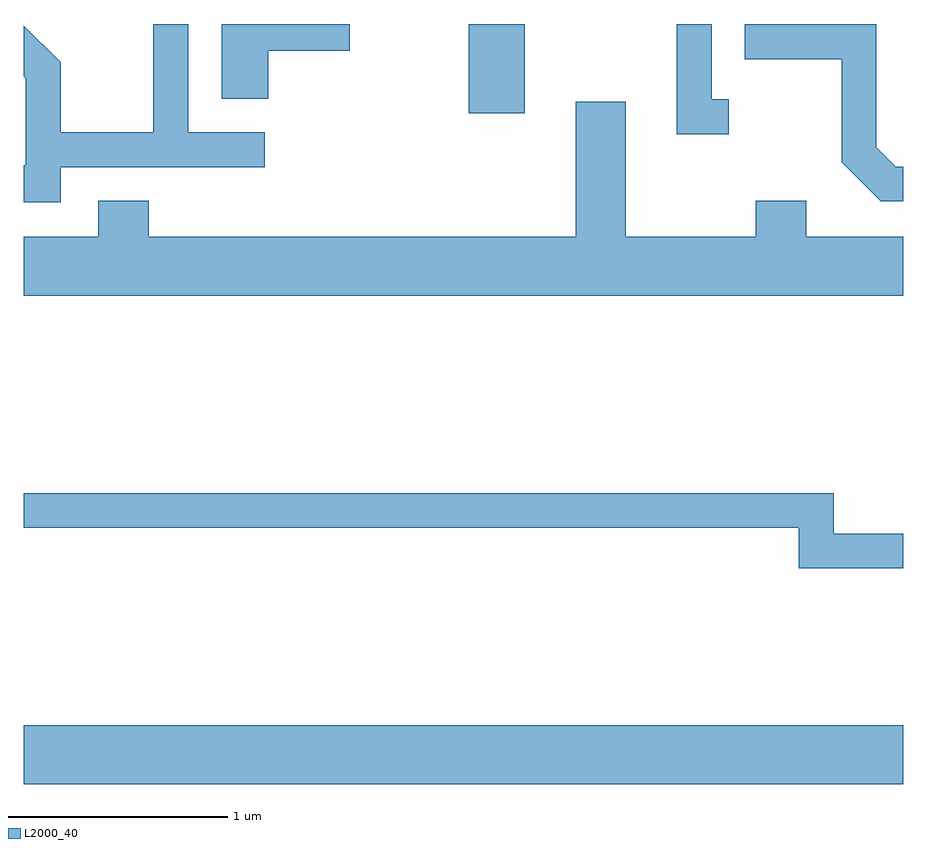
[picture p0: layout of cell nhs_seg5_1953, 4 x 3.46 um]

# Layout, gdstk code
import gdstk
lib = gdstk.Library(unit=1e-6, precision=1e-09)
def R(c, l, rs):  # rectangles x0, y0, x1, y1
    for r in rs: c.add(gdstk.rectangle(r[:2], r[2:], *l))
def P(c, l, *ps):  # polygons
    for p in ps: c.add(gdstk.Polygon(p, *l))
L2000_40 = (2000, 40)

nhs_seg5_1953 = lib.new_cell('nhs_seg5_1953')
R(nhs_seg5_1953, L2000_40, [(243.611,1414.616,247.611,1414.884), (245.636,1417.666,245.889,1418.072)])
P(nhs_seg5_1953, L2000_40, [(243.779,1417.421),(244.708,1417.421),(244.708,1417.579),(244.359,1417.579),(244.359,1418.072),(244.201,1418.072),(244.201,1417.579),(243.779,1417.579),(243.779,1417.897),(243.611,1418.065),(243.611,1417.834),(243.621,1417.824),(243.621,1417.429),(243.611,1417.429),(243.611,1417.261),(243.779,1417.261)],
  [(247.611,1417.424),(247.577,1417.424),(247.489,1417.512),(247.489,1418.072),(246.891,1418.072),(246.891,1417.911),(247.331,1417.911),(247.331,1417.444),(247.509,1417.266),(247.611,1417.266)],
  [(246.818,1417.729),(246.739,1417.729),(246.739,1418.072),(246.581,1418.072),(246.581,1417.571),(246.818,1417.571)],
  [(244.724,1417.951),(245.094,1417.951),(245.094,1418.072),(244.511,1418.072),(244.511,1417.731),(244.724,1417.731)],
  [(247.611,1417.104),(247.169,1417.104),(247.169,1417.269),(246.941,1417.269),(246.941,1417.104),(246.349,1417.104),(246.349,1417.719),(246.121,1417.719),(246.121,1417.104),(244.179,1417.104),(244.179,1417.269),(243.951,1417.269),(243.951,1417.104),(243.611,1417.104),(243.611,1416.836),(247.611,1416.836)],
  [(247.611,1415.754),(247.294,1415.754),(247.294,1415.939),(243.611,1415.939),(243.611,1415.781),(247.136,1415.781),(247.136,1415.596),(247.611,1415.596)])

lib.write_gds('nhs_seg5_1953.gds')
